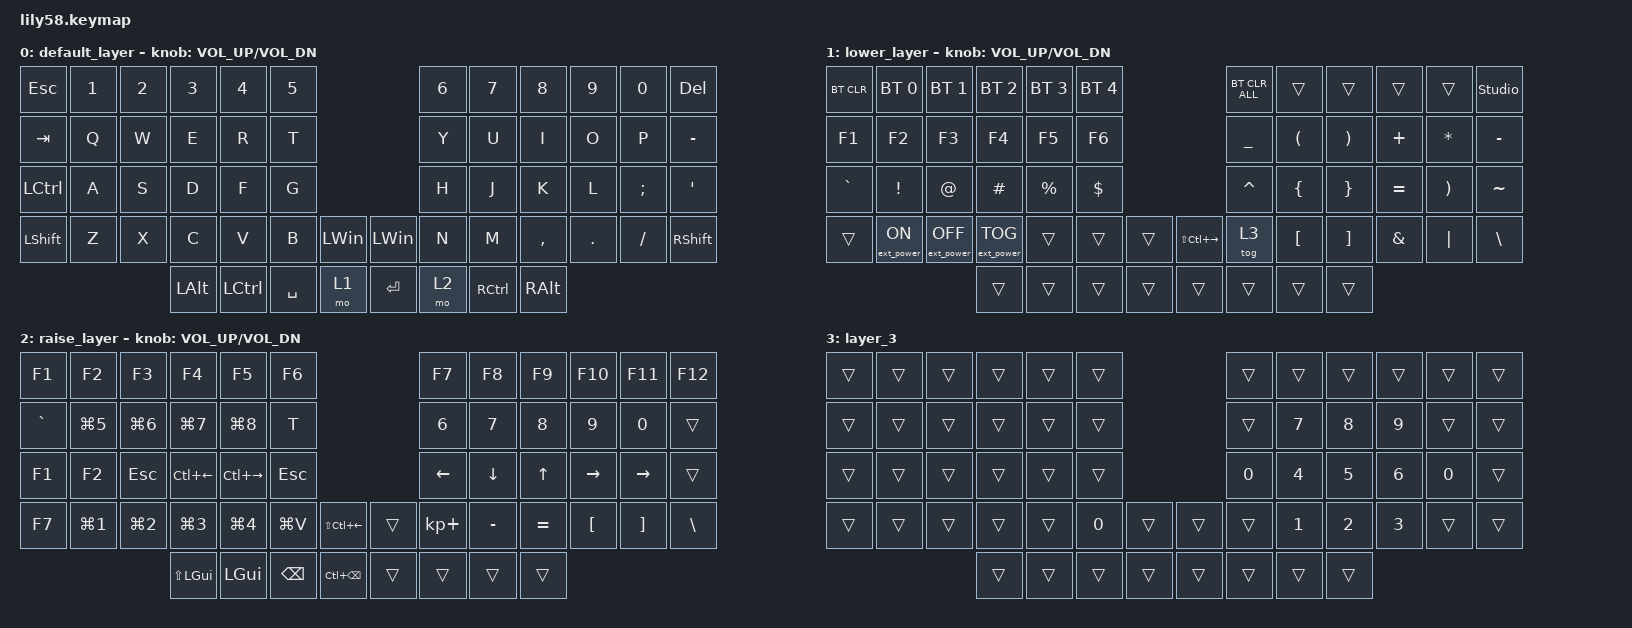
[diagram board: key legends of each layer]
/*
 * Copyright (c) 2020 The ZMK Contributors
 *
 * SPDX-License-Identifier: MIT
 */

#include <behaviors.dtsi>
#include <dt-bindings/zmk/bt.h>
#include <dt-bindings/zmk/ext_power.h>
#include <dt-bindings/zmk/keys.h>

/ {
    keymap {
        compatible = "zmk,keymap";

        default_layer {
            // ------------------------------------------------------------------------------------------------------------
            // |  ESC  |  1  |  2  |  3   |  4   |  5   |                   |  6   |  7    |  8    |  9   |   0   |   `   |
            // |  TAB  |  Q  |  W  |  E   |  R   |  T   |                   |  Y   |  U    |  I    |  O   |   P   |   -   |
            // |  CTRL |  A  |  S  |  D   |  F   |  G   |                   |  H   |  J    |  K    |  L   |   ;   |   '   |
            // | SHIFT |  Z  |  X  |  C   |  V   |  B   |   "["  |  |  "]"  |  N   |  M    |  ,    |  .   |   /   | SHIFT |
            //                     | ALT  | GUI  | LOWER|  SPACE |  | ENTER | RAISE| BSPC  | GUI   |

            bindings = <
&kp ESC    &kp N1  &kp N2  &kp N3    &kp N4     &kp N5                                   &kp N6  &kp N7     &kp N8         &kp N9   &kp N0    &kp DELETE
&kp TAB    &kp Q   &kp W   &kp E     &kp R      &kp T                                    &kp Y   &kp U      &kp I          &kp O    &kp P     &kp MINUS
&kp LCTRL  &kp A   &kp S   &kp D     &kp F      &kp G                                    &kp H   &kp J      &kp K          &kp L    &kp SEMI  &kp SQT
&kp LSHFT  &kp Z   &kp X   &kp C     &kp V      &kp B      &kp LEFT_WIN    &kp LEFT_WIN  &kp N   &kp M      &kp COMMA      &kp DOT  &kp FSLH  &kp RSHFT
                           &kp LALT  &kp LCTRL  &kp SPACE  &mo 1           &kp RET       &mo 2   &kp RCTRL  &kp RIGHT_ALT
            >;

            sensor-bindings = <&inc_dec_kp C_VOL_UP C_VOL_DN>;
        };

        lower_layer {
            // ------------------------------------------------------------------------------------------------------------
            // | BTCLR | BT1 | BT2 |  BT3 |  BT4 |  BT5 |                   |      |       |       |      |       |       |
            // |  F1   |  F2 |  F3 |  F4  |  F5  |  F6  |                   |  F7  |  F8   |  F9   |  F10 |  F11  |  F12  |
            // |   `   |  !  |  @  |  #   |  $   |  %   |                   |  ^   |  &    |  *    |  (   |   )   |   ~   |
            // |       |     |     |      |      |      |        |  |       |      |  _    |  +    |  {   |   }   |  "|"  |
            //                     |      |      |      |        |  |       |      |       |       |

            bindings = <
&bt BT_CLR  &bt BT_SEL 0      &bt BT_SEL 1       &bt BT_SEL 2       &bt BT_SEL 3  &bt BT_SEL 4                               &bt BT_CLR_ALL  &trans                &trans                 &trans     &trans     &studio_unlock
&kp F1      &kp F2            &kp F3             &kp F4             &kp F5        &kp F6                                     &kp UNDER       &kp LEFT_PARENTHESIS  &kp RIGHT_PARENTHESIS  &kp PLUS   &kp ASTRK  &kp MINUS
&kp GRAVE   &kp EXCL          &kp AT             &kp HASH           &kp PERCENT   &kp DOLLAR                                 &kp CARET       &kp LEFT_BRACE        &kp RIGHT_BRACE        &kp EQUAL  &kp RPAR   &kp TILDE
&trans      &ext_power EP_ON  &ext_power EP_OFF  &ext_power EP_TOG  &trans        &trans        &trans    &kp LS(LC(RIGHT))  &tog 3          &kp LEFT_BRACKET      &kp RIGHT_BRACKET      &kp AMPS   &kp PIPE   &kp BACKSLASH
                                                 &trans             &trans        &trans        &trans    &trans             &trans          &trans                &trans
            >;

            sensor-bindings = <&inc_dec_kp C_VOL_UP C_VOL_DN>;
        };

        raise_layer {
            // ------------------------------------------------------------------------------------------------------------
            // |       |     |     |      |      |      |                   |      |       |       |      |       |       |
            // |   `   |  1  |  2  |  3   |  4   |  5   |                   |  6   |   7   |   8   |  9   |   0   |       |
            // |   F1  |  F2 |  F3 |  F4  |  F5  |  F6  |                   |      |   <-  |   v   |  ^   |  ->   |       |
            // |   F7  |  F8 |  F9 |  F10 |  F11 |  F12 |        |  |       |  +   |   -   |   =   |  [   |   ]   |   \   |
            //                     |      |      |      |        |  |       |      |       |       |

            bindings = <
&kp F1     &kp F2      &kp F3      &kp F4        &kp F5         &kp F6                                 &kp F7       &kp F8     &kp F9        &kp F10    &kp F11    &kp F12
&kp GRAVE  &kp LG(N5)  &kp LG(N6)  &kp LG(N7)    &kp LG(N8)     &kp T                                  &kp N6       &kp N7     &kp N8        &kp N9     &kp N0     &trans
&kp F1     &kp F2      &kp ESC     &kp LC(LEFT)  &kp LC(RIGHT)  &kp ESC                                &kp LEFT     &kp DOWN   &kp UP_ARROW  &kp RIGHT  &kp RIGHT  &trans
&kp F7     &kp LG(N1)  &kp LG(N2)  &kp LG(N3)    &kp LG(N4)     &kp LG(V)  &kp LS(LC(LEFT))    &trans  &kp KP_PLUS  &kp MINUS  &kp EQUAL     &kp LBKT   &kp RBKT   &kp BSLH
                                   &kp LS(LGUI)  &kp LGUI       &kp BSPC   &kp LC(BSPC)        &trans  &trans       &trans     &trans
            >;

            sensor-bindings = <&inc_dec_kp C_VOL_UP C_VOL_DN>;
        };

        layer_3 {
            bindings = <
&trans  &trans  &trans  &trans  &trans  &trans                    &trans  &trans  &trans  &trans  &trans  &trans
&trans  &trans  &trans  &trans  &trans  &trans                    &trans  &kp N7  &kp N8  &kp N9  &trans  &trans
&trans  &trans  &trans  &trans  &trans  &trans                    &kp N0  &kp N4  &kp N5  &kp N6  &kp N0  &trans
&trans  &trans  &trans  &trans  &trans  &kp N0  &trans    &trans  &trans  &kp N1  &kp N2  &kp N3  &trans  &trans
                        &trans  &trans  &trans  &trans    &trans  &trans  &trans  &trans
            >;
        };
    };
};
